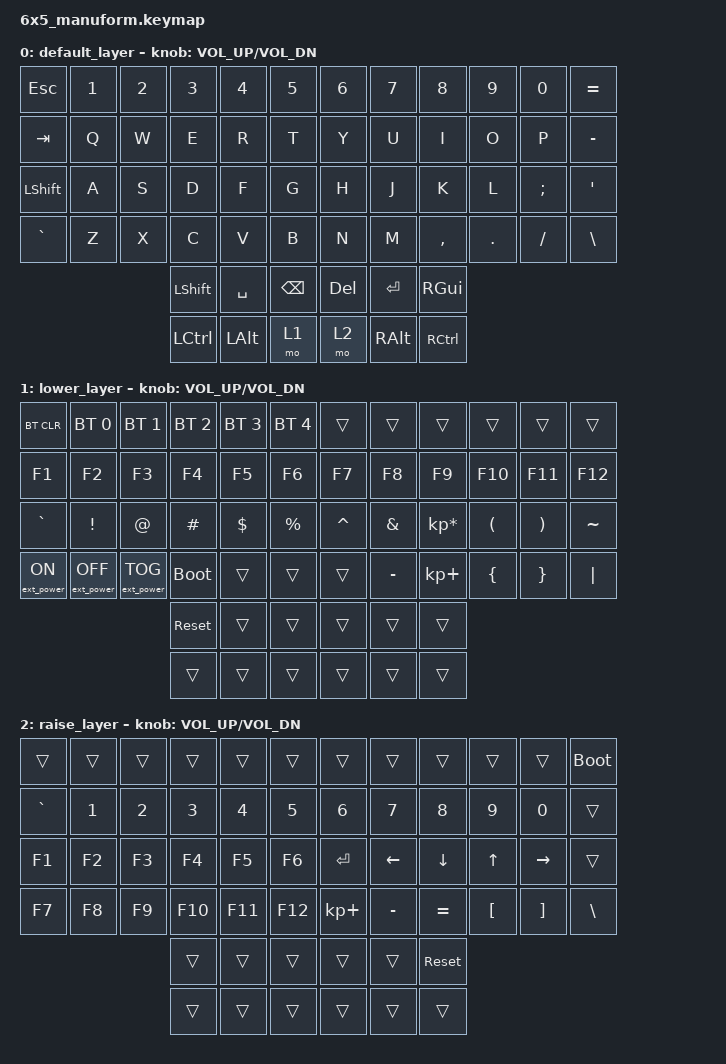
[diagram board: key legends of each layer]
/*
 * Copyright (c) 2020 The ZMK Contributors
 *
 * SPDX-License-Identifier: MIT
 */

#include <behaviors.dtsi>
#include <dt-bindings/zmk/bt.h>
#include <dt-bindings/zmk/ext_power.h>
#include <dt-bindings/zmk/keys.h>

/ {
    keymap {
        compatible = "zmk,keymap";

        default_layer {
            // ------------------------------------------------------------------------------------------------------------
            // |  ESC   |  1  |  2  |  3   |  4   |  5   |                    |  6   |  7    |  8    |  9   |   0   |   `   |
            // |  TAB   |  Q  |  W  |  E   |  R   |  T   |                    |  Y   |  U    |  I    |  O   |   P   |   -   |
            // |  CTRL  |  A  |  S  |  D   |  F   |  G   |                    |  H   |  J    |  K    |  L   |   ;   |   '   |
            // | SHIFT  |  Z  |  X  |  C   |  V   |  B   |                    |  N   |  M    |  ,    |  .   |   /   | SHIFT |
            // |    2   |  2  | f   | 6    | 4    | 1    |                    | 2    | 1     | w     | s    | n     |  a    |

            bindings = <
&kp ESC    &kp N1  &kp N2  &kp N3     &kp N4     &kp N5      &kp N6   &kp N7    &kp N8     &kp N9   &kp N0    &kp EQUAL
&kp TAB    &kp Q   &kp W   &kp E      &kp R      &kp T       &kp Y    &kp U     &kp I      &kp O    &kp P     &kp MINUS
&kp LSHFT  &kp A   &kp S   &kp D      &kp F      &kp G       &kp H    &kp J     &kp K      &kp L    &kp SEMI  &kp SQT
&kp GRAVE  &kp Z   &kp X   &kp C      &kp V      &kp B       &kp N    &kp M     &kp COMMA  &kp DOT  &kp FSLH  &kp BSLH
                           &kp LSHFT  &kp SPACE  &kp BSPC    &kp DEL  &kp RET   &kp RGUI
                           &kp LCTRL  &kp LALT   &mo 1       &mo 2    &kp RALT  &kp RCTRL
            >;

            sensor-bindings = <&inc_dec_kp C_VOL_UP C_VOL_DN>;
        };

        lower_layer {
            // ------------------------------------------------------------------------------------------------------------
            // | BTCLR | BT1 | BT2 |  BT3 |  BT4 |  BT5 |                   |      |       |       |      |       |       |
            // |  F1   |  F2 |  F3 |  F4  |  F5  |  F6  |                   |  F7  |  F8   |  F9   |  F10 |  F11  |  F12  |
            // |   `   |  !  |  @  |  #   |  $   |  %   |                   |  ^   |  &    |  *    |  (   |   )   |   ~   |
            // |       |     |     |      |      |      |                   |      |  _    |  +    |  {   |   }   |  "|"  |
            // |       |     |     |      |      |      |                   |      |       |       |      |       |       |

            bindings = <
&bt BT_CLR        &bt BT_SEL 0       &bt BT_SEL 1       &bt BT_SEL 2  &bt BT_SEL 3  &bt BT_SEL 4    &trans     &trans     &trans           &trans    &trans    &trans
&kp F1            &kp F2             &kp F3             &kp F4        &kp F5        &kp F6          &kp F7     &kp F8     &kp F9           &kp F10   &kp F11   &kp F12
&kp GRAVE         &kp EXCL           &kp AT             &kp HASH      &kp DOLLAR    &kp PRCNT       &kp CARET  &kp AMPS   &kp KP_MULTIPLY  &kp LPAR  &kp RPAR  &kp TILDE
&ext_power EP_ON  &ext_power EP_OFF  &ext_power EP_TOG  &bootloader   &trans        &trans          &trans     &kp MINUS  &kp KP_PLUS      &kp LBRC  &kp RBRC  &kp PIPE
                                                        &sys_reset    &trans        &trans          &trans     &trans     &trans
                                                        &trans        &trans        &trans          &trans     &trans     &trans
            >;

            sensor-bindings = <&inc_dec_kp C_VOL_UP C_VOL_DN>;
        };

        raise_layer {
            // ------------------------------------------------------------------------------------------------------------
            // |       |     |     |      |      |      |                   |      |       |       |      |       |       |
            // |   `   |  1  |  2  |  3   |  4   |  5   |                   |  6   |   7   |   8   |  9   |   0   |       |
            // |   F1  |  F2 |  F3 |  F4  |  F5  |  F6  |                   |      |   <-  |   v   |  ^   |  ->   |       |
            // |   F7  |  F8 |  F9 |  F10 |  F11 |  F12 |		             |  +   |   -   |   =   |  [   |   ]   |   \   |
            // |     |     |      |      |      |        |                   |       |      |       |       |      |       |

            bindings = <
&trans     &trans  &trans  &trans   &trans   &trans     &trans       &trans     &trans      &trans    &trans     &bootloader
&kp GRAVE  &kp N1  &kp N2  &kp N3   &kp N4   &kp N5     &kp N6       &kp N7     &kp N8      &kp N9    &kp N0     &trans
&kp F1     &kp F2  &kp F3  &kp F4   &kp F5   &kp F6     &kp RET      &kp LEFT   &kp DOWN    &kp UP    &kp RIGHT  &trans
&kp F7     &kp F8  &kp F9  &kp F10  &kp F11  &kp F12    &kp KP_PLUS  &kp MINUS  &kp EQUAL   &kp LBKT  &kp RBKT   &kp BSLH
                           &trans   &trans   &trans     &trans       &trans     &sys_reset
                           &trans   &trans   &trans     &trans       &trans     &trans
            >;

            sensor-bindings = <&inc_dec_kp C_VOL_UP C_VOL_DN>;
        };
    };
};
